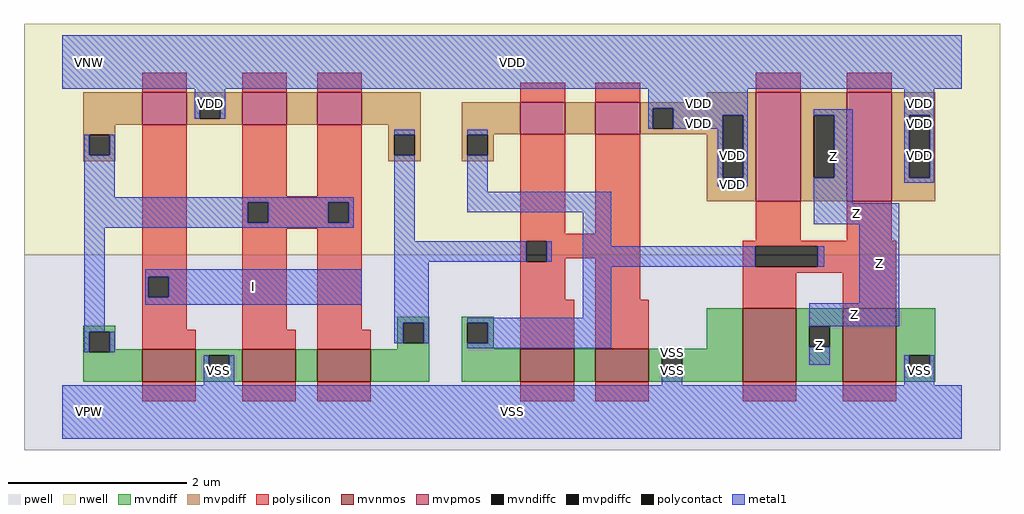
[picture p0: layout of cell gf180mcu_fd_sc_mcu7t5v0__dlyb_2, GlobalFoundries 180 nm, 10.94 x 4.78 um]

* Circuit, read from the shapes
.subckt gf180mcu_fd_sc_mcu7t5v0__dlyb_2 I Z VDD VNW VPW VSS
XM1 VSS I n1 VPW nfet_06v0 w=0.36u l=0.6u
XM2 n2 n1 VSS VPW nfet_06v0 w=0.36u l=0.6u
XM3 n3 n1 n2 VPW nfet_06v0 w=0.36u l=0.6u
XM4 n4 n3 n5 VPW nfet_06v0 w=0.365u l=0.6u
XM5 VSS n3 n4 VPW nfet_06v0 w=0.365u l=0.6u
XM6 Z n5 VSS VPW nfet_06v0 w=0.82u l=0.6u m=2
XM7 VDD I n1 VNW pfet_06v0 w=0.36u l=0.5u
XM8 n6 n1 VDD VNW pfet_06v0 w=0.36u l=0.5u
XM9 n3 n1 n6 VNW pfet_06v0 w=0.36u l=0.5u
XM10 n7 n3 n5 VNW pfet_06v0 w=0.36u l=0.5u
XM11 VDD n3 n7 VNW pfet_06v0 w=0.36u l=0.5u
XM12 Z n5 VDD VNW pfet_06v0 w=1.22u l=0.5u m=2
.ends

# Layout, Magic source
magic
tech gf180mcuD
magscale 1 10
<< nwell >>
rect -86 352 2102 870
<< pwell >>
rect -86 -86 2102 352
<< mvnmos >>
rect 179 68 299 140
rect 403 68 523 140
rect 571 68 691 140
rect 1027 68 1147 141
rect 1195 68 1315 141
rect 1525 68 1645 232
rect 1749 68 1869 232
<< mvpmos >>
rect 179 644 279 716
rect 403 644 503 716
rect 571 644 671 716
rect 1027 622 1127 694
rect 1195 622 1295 694
rect 1555 472 1655 716
rect 1759 472 1859 716
<< mvndiff >>
rect 47 180 119 193
rect 47 134 60 180
rect 106 140 119 180
rect 751 200 823 213
rect 751 154 764 200
rect 810 154 823 200
rect 751 140 823 154
rect 106 134 179 140
rect 47 68 179 134
rect 299 127 403 140
rect 299 81 328 127
rect 374 81 403 127
rect 299 68 403 81
rect 523 68 571 140
rect 691 68 823 140
rect 895 200 967 213
rect 895 154 908 200
rect 954 154 967 200
rect 895 141 967 154
rect 1445 141 1525 232
rect 895 68 1027 141
rect 1147 68 1195 141
rect 1315 127 1525 141
rect 1315 81 1344 127
rect 1390 81 1525 127
rect 1315 68 1525 81
rect 1645 192 1749 232
rect 1645 146 1674 192
rect 1720 146 1749 192
rect 1645 68 1749 146
rect 1869 127 1957 232
rect 1869 81 1898 127
rect 1944 81 1957 127
rect 1869 68 1957 81
<< mvpdiff >>
rect 47 644 179 716
rect 279 703 403 716
rect 279 657 308 703
rect 354 657 403 703
rect 279 644 403 657
rect 503 644 571 716
rect 671 644 803 716
rect 1445 694 1555 716
rect 47 621 119 644
rect 47 575 60 621
rect 106 575 119 621
rect 47 562 119 575
rect 731 621 803 644
rect 731 575 744 621
rect 790 575 803 621
rect 731 562 803 575
rect 895 622 1027 694
rect 1127 622 1195 694
rect 1295 681 1555 694
rect 1295 635 1324 681
rect 1370 665 1555 681
rect 1370 635 1480 665
rect 1295 622 1480 635
rect 895 621 967 622
rect 895 575 908 621
rect 954 575 967 621
rect 895 562 967 575
rect 1445 525 1480 622
rect 1526 525 1555 665
rect 1445 472 1555 525
rect 1655 665 1759 716
rect 1655 525 1684 665
rect 1730 525 1759 665
rect 1655 472 1759 525
rect 1859 665 1957 716
rect 1859 525 1898 665
rect 1944 525 1957 665
rect 1859 472 1957 525
<< mvndiffc >>
rect 60 134 106 180
rect 764 154 810 200
rect 328 81 374 127
rect 908 154 954 200
rect 1344 81 1390 127
rect 1674 146 1720 192
rect 1898 81 1944 127
<< mvpdiffc >>
rect 308 657 354 703
rect 60 575 106 621
rect 744 575 790 621
rect 1324 635 1370 681
rect 908 575 954 621
rect 1480 525 1526 665
rect 1684 525 1730 665
rect 1898 525 1944 665
<< polysilicon >>
rect 179 716 279 760
rect 403 716 503 760
rect 571 716 671 760
rect 1027 694 1127 738
rect 1195 694 1295 738
rect 1555 716 1655 760
rect 1759 716 1859 760
rect 179 303 279 644
rect 179 257 192 303
rect 238 257 279 303
rect 179 184 279 257
rect 403 483 503 644
rect 571 483 671 644
rect 403 470 671 483
rect 403 424 416 470
rect 462 424 596 470
rect 642 424 671 470
rect 403 411 671 424
rect 403 184 503 411
rect 571 184 671 411
rect 1027 399 1127 622
rect 1195 399 1295 622
rect 1027 382 1295 399
rect 1555 384 1655 472
rect 1759 384 1859 472
rect 1027 336 1040 382
rect 1086 344 1295 382
rect 1086 336 1127 344
rect 1027 251 1127 336
rect 1195 251 1295 344
rect 1525 371 1869 384
rect 1525 325 1553 371
rect 1693 325 1869 371
rect 1525 312 1869 325
rect 179 140 299 184
rect 403 140 523 184
rect 571 140 691 184
rect 1027 141 1147 251
rect 1195 141 1315 251
rect 1525 232 1645 312
rect 1749 232 1869 312
rect 179 24 299 68
rect 403 24 523 68
rect 571 24 691 68
rect 1027 24 1147 68
rect 1195 24 1315 68
rect 1525 24 1645 68
rect 1749 24 1869 68
<< polycontact >>
rect 192 257 238 303
rect 416 424 462 470
rect 596 424 642 470
rect 1040 336 1086 382
rect 1553 325 1693 371
<< metal1 >>
rect 0 724 2016 844
rect 297 703 365 724
rect 297 657 308 703
rect 354 657 365 703
rect 1313 681 1537 724
rect 1313 635 1324 681
rect 1370 665 1537 681
rect 1370 635 1480 665
rect 744 621 790 632
rect 49 575 60 621
rect 106 575 117 621
rect 49 481 117 575
rect 49 470 653 481
rect 49 424 416 470
rect 462 424 596 470
rect 642 424 653 470
rect 49 413 653 424
rect 49 180 95 413
rect 744 382 790 575
rect 908 621 954 632
rect 908 493 954 575
rect 1469 525 1480 635
rect 1526 525 1537 665
rect 1469 506 1537 525
rect 1684 665 1772 678
rect 1730 525 1772 665
rect 908 447 1231 493
rect 744 336 1040 382
rect 1086 336 1097 382
rect 1167 371 1231 447
rect 1684 468 1772 525
rect 1887 665 1955 724
rect 1887 525 1898 665
rect 1944 525 1955 665
rect 1887 514 1955 525
rect 1684 421 1876 468
rect 186 303 671 320
rect 186 257 192 303
rect 238 257 671 303
rect 186 240 671 257
rect 744 200 821 336
rect 1167 325 1553 371
rect 1693 325 1708 371
rect 1167 211 1231 325
rect 1786 243 1876 421
rect 49 134 60 180
rect 106 134 117 180
rect 744 154 764 200
rect 810 154 821 200
rect 908 200 1231 211
rect 954 154 1231 200
rect 908 143 1231 154
rect 1674 192 1876 243
rect 1344 127 1390 138
rect 317 81 328 127
rect 374 81 385 127
rect 317 60 385 81
rect 1674 106 1720 146
rect 1344 60 1390 81
rect 1887 81 1898 127
rect 1944 81 1955 127
rect 1887 60 1955 81
rect 0 -60 2016 60
<< labels >>
flabel metal1 s 0 724 2016 844 0 FreeSans 400 0 0 0 VDD
port 3 nsew power bidirectional abutment
flabel metal1 s 186 240 671 320 0 FreeSans 400 0 0 0 I
port 1 nsew default input
flabel metal1 s 1684 468 1772 678 0 FreeSans 400 0 0 0 Z
port 2 nsew default output
flabel metal1 s 1344 127 1390 138 0 FreeSans 400 0 0 0 VSS
port 6 nsew ground bidirectional abutment
flabel nwell s 10 734 110 834 0 FreeSans 400 0 0 0 VNW
port 4 nsew power bidirectional
flabel pwell s 10 -50 110 50 0 FreeSans 400 0 0 0 VPW
port 5 nsew ground bidirectional
rlabel metal1 s 1684 421 1876 468 1 Z
port 2 nsew default output
rlabel metal1 s 1786 243 1876 421 1 Z
port 2 nsew default output
rlabel metal1 s 1674 192 1876 243 1 Z
port 2 nsew default output
rlabel metal1 s 1674 106 1720 192 1 Z
port 2 nsew default output
rlabel metal1 s 1887 657 1955 724 1 VDD
port 3 nsew power bidirectional abutment
rlabel metal1 s 1313 657 1537 724 1 VDD
port 3 nsew power bidirectional abutment
rlabel metal1 s 297 657 365 724 1 VDD
port 3 nsew power bidirectional abutment
rlabel metal1 s 1887 635 1955 657 1 VDD
port 3 nsew power bidirectional abutment
rlabel metal1 s 1313 635 1537 657 1 VDD
port 3 nsew power bidirectional abutment
rlabel metal1 s 1887 514 1955 635 1 VDD
port 3 nsew power bidirectional abutment
rlabel metal1 s 1469 514 1537 635 1 VDD
port 3 nsew power bidirectional abutment
rlabel metal1 s 1469 506 1537 514 1 VDD
port 3 nsew power bidirectional abutment
rlabel metal1 s 1887 60 1955 127 1 VSS
port 6 nsew ground bidirectional abutment
rlabel metal1 s 1344 60 1390 127 1 VSS
port 6 nsew ground bidirectional abutment
rlabel metal1 s 317 60 385 127 1 VSS
port 6 nsew ground bidirectional abutment
rlabel metal1 s 0 -60 2016 60 1 VSS
port 6 nsew ground bidirectional abutment
<< properties >>
string FIXED_BBOX 0 0 2016 784
string GDS_END 1098640
string GDS_FILE $PDKPATH/libs.ref/gf180mcu_fd_sc_mcu7t5v0/gds/gf180mcu_fd_sc_mcu7t5v0.gds
string GDS_START 1094108
string LEFclass core
string LEFsite GF018hv5v_mcu_sc7
string LEFsymmetry X Y
<< end >>
